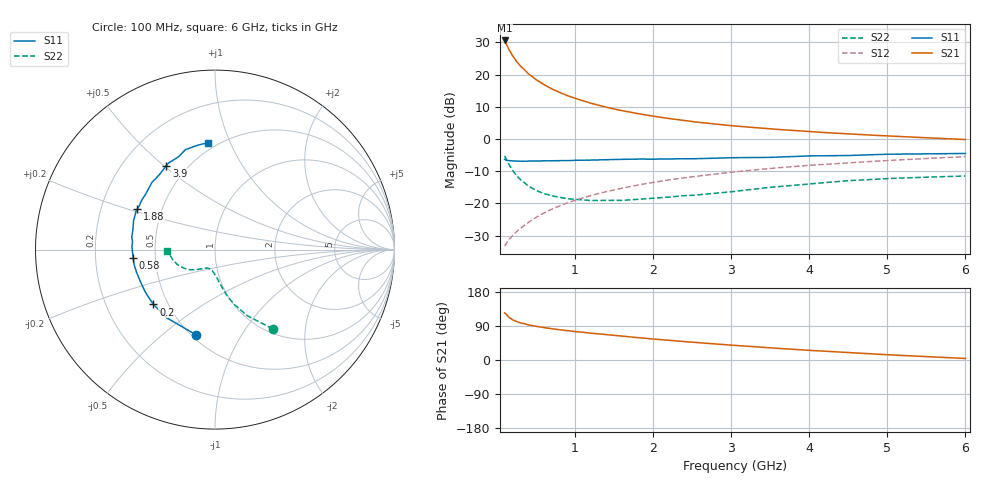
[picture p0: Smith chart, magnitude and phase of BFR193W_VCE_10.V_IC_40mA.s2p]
! Infineon Technologies  Discrete & RF Semiconductors
! BFR193W
! VCE =  10. V,  IC =  40 mA
! Common Emitter S-Parameters:  Nov 2015
# GHz  S  MA  R  50
!  f  S11  S21  S12  S22
! GHz  MAG  ANG  MAG  ANG  MAG  ANG  MAG  ANG
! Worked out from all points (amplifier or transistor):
!   192 points, 100 MHz to 6 GHz, reference 50 ohm
!   highest |S21| = 30.6 dB at 100 MHz (marker M1)
!   |S21| within 3 dB of that: start of sweep to 160.4 MHz
!   unconditionally stable (mu >= 1): 661.5 MHz to 2.718 GHz
!   at 440 MHz: K = 0.94, MSG = 22.5 dB, |S12| = -25.3 dB
!   at 1.7 GHz: K = 1.02, MAG = 10.6 dB, |S12| = -14.8 dB
!   at 6 GHz: K = 0.91, MSG = 2.7 dB, |S12| = -5.5 dB
!   S11 on the Smith chart (normalised r, x): 100 MHz: 0.53, -0.65; 200 MHz: 0.42, -0.32; 580 MHz: 0.37, -0.05; 1.88 GHz: 0.36, +0.22; 3.9 GHz: 0.39, +0.51; 6 GHz: 0.45, +0.83
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0.1  0.4854 -102.9  33.98 124.3  0.0217 58.9  0.547 -53.9
0.15  0.4657 -125.2  25.21 113.3  0.0269 58.3  0.4106 -63.9
0.2  0.4591 -138.3  19.81 106.2  0.0315 59.7  0.3286 -70.2
0.24  0.4552 -145.6  16.92 102.7  0.0353 61.4  0.2832 -73.8
0.26  0.4544 -148.7  15.71 101.0  0.0371 62.2  0.2649 -75.4
0.3  0.4528 -153.9  13.71 98.1  0.0407 63.8  0.2365 -77.6
0.4  0.4551 -163.7  10.42 92.8  0.0502 66.5  0.1876 -82.2
0.5  0.4582 -169.7  8.412 88.9  0.0604 68.4  0.1596 -85.7
0.58  0.4578 -173.9  7.319 86.4  0.0686 69.0  0.146 -88.7
0.7  0.4604 -178.8  6.046 82.6  0.081 69.9  0.1316 -92.1
0.8  0.4631 177.7  5.325 79.9  0.0911 70.1  0.1251 -95.1
0.9  0.4615 174.5  4.741 77.5  0.1016 70.1  0.1184 -97.2
1.1  0.4691 168.9  3.952 73.2  0.1218 69.6  0.1134 -102.3
1.4  0.4791 161.8  3.121 66.9  0.1522 68.3  0.1111 -109.4
1.88  0.4882 152.4  2.396 57.7  0.2002 65.3  0.1176 -118.8
2.08  0.4893 148.4  2.192 54.1  0.2198 63.9  0.1225 -121.4
2.5  0.494 141.7  1.866 46.9  0.2594 60.8  0.1333 -126.7
3.1  0.514 131.9  1.576 37.9  0.314 55.7  0.1568 -134.5
3.9  0.5409 120.0  1.33 26.9  0.3825 48.9  0.1961 -147.3
4.1  0.5482 117.0  1.282 24.4  0.3978 47.2  0.2055 -150.8
5.1  0.5821 104.9  1.104 12.9  0.471 39.2  0.2454 -168.8
6  0.5972 93.6  0.983 4.0  0.533 32.0  0.2668 -178.7
